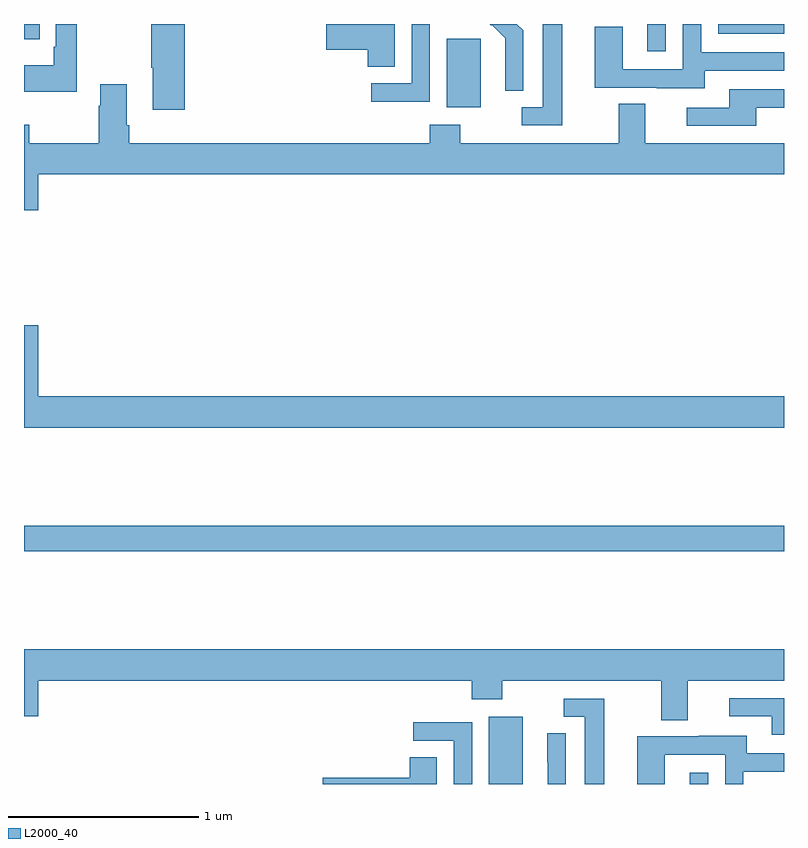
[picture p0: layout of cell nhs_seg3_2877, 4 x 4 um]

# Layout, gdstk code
import gdstk
lib = gdstk.Library(unit=1e-6, precision=1e-09)
def R(c, l, rs):  # rectangles x0, y0, x1, y1
    for r in rs: c.add(gdstk.rectangle(r[:2], r[2:], *l))
def P(c, l, *ps):  # polygons
    for p in ps: c.add(gdstk.Polygon(p, *l))
L2000_40 = (2000, 40)

nhs_seg3_2877 = lib.new_cell('nhs_seg3_2877')
R(nhs_seg3_2877, L2000_40, [(263.447,672.4,263.626,672.754), (264.503,672.4,264.6,672.46), (261,673.624,265,673.76), (263.225,675.962,263.404,676.323), (264.281,676.257,264.378,676.4), (261,676.319,261.083,676.4), (264.654,676.35,265,676.4)])
P(nhs_seg3_2877, L2000_40, [(261.277,676.4),(261.168,676.4),(261.168,676.279),(261.156,676.279),(261.156,676.183),(261,676.183),(261,676.043),(261.277,676.043)],
  [(264.583,676.155),(265,676.155),(265,676.251),(264.564,676.251),(264.564,676.4),(264.468,676.4),(264.468,676.161),(264.15,676.161),(264.15,676.385),(264.005,676.385),(264.005,676.065),(264.329,676.065),(264.329,676.061),(264.583,676.061)],
  [(263.136,676.4),(263.04,676.4),(263.04,676.089),(262.827,676.089),(262.827,675.991),(263.136,675.991)],
  [(263.628,676.366),(263.594,676.4),(263.452,676.4),(263.46,676.392),(263.463,676.395),(263.534,676.325),(263.534,676.202),(263.532,676.202),(263.532,676.048),(263.628,676.048)],
  [(261.845,676.4),(261.67,676.4),(261.67,676.171),(261.677,676.171),(261.677,675.948),(261.845,675.948)],
  [(263.833,676.4),(263.729,676.4),(263.729,675.963),(263.619,675.963),(263.619,675.867),(263.833,675.867)],
  [(262.951,676.4),(262.59,676.4),(262.59,676.265),(262.808,676.265),(262.808,676.174),(262.951,676.174)],
  [(261.076,675.608),(265,675.608),(265,675.772),(264.271,675.772),(264.271,675.98),(264.131,675.98),(264.131,675.772),(263.295,675.772),(263.295,675.871),(263.135,675.871),(263.135,675.772),(261.554,675.772),(261.554,675.868),(261.541,675.868),(261.541,676.084),(261.401,676.084),(261.401,675.971),(261.394,675.971),(261.394,675.772),(261.027,675.772),(261.027,675.871),(261,675.871),(261,675.42),(261.076,675.42)],
  [(264.853,675.96),(265,675.96),(265,676.056),(264.713,676.056),(264.713,675.96),(264.489,675.96),(264.489,675.864),(264.853,675.864)],
  [(265,674.44),(261.076,674.44),(261.076,674.815),(261,674.815),(261,674.276),(265,674.276)],
  [(264.493,672.944),(265,672.944),(265,673.108),(261,673.108),(261,672.756),(261.076,672.756),(261.076,672.944),(263.357,672.944),(263.357,672.845),(263.517,672.845),(263.517,672.944),(264.353,672.944),(264.353,672.736),(264.493,672.736)],
  [(265,672.852),(264.711,672.852),(264.711,672.756),(264.935,672.756),(264.935,672.66),(265,672.66)],
  [(264.055,672.849),(263.841,672.849),(263.841,672.753),(263.951,672.753),(263.951,672.4),(264.055,672.4)],
  [(263.358,672.726),(263.049,672.726),(263.049,672.627),(263.262,672.627),(263.262,672.4),(263.358,672.4)],
  [(263.85,672.668),(263.754,672.668),(263.754,672.514),(263.756,672.514),(263.756,672.4),(263.85,672.4)],
  [(264.372,672.555),(264.69,672.555),(264.69,672.4),(264.786,672.4),(264.786,672.465),(265,672.465),(265,672.561),(264.805,672.561),(264.805,672.655),(264.551,672.655),(264.551,672.651),(264.227,672.651),(264.227,672.4),(264.372,672.4)],
  [(263.173,672.542),(263.03,672.542),(263.03,672.434),(262.572,672.434),(262.572,672.4),(263.173,672.4)])

lib.write_gds('nhs_seg3_2877.gds')
